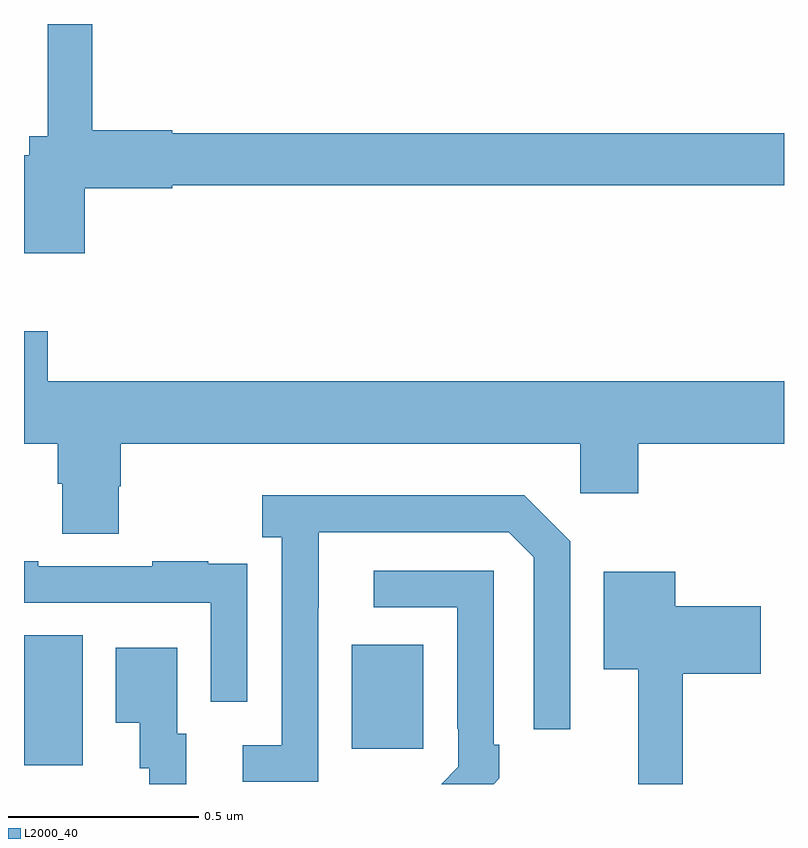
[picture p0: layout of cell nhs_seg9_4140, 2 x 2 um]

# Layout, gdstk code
import gdstk
lib = gdstk.Library(unit=1e-6, precision=1e-09)
def R(c, l, rs):  # rectangles x0, y0, x1, y1
    for r in rs: c.add(gdstk.rectangle(r[:2], r[2:], *l))
def P(c, l, *ps):  # polygons
    for p in ps: c.add(gdstk.Polygon(p, *l))
L2000_40 = (2000, 40)

nhs_seg9_4140 = lib.new_cell('nhs_seg9_4140')
R(nhs_seg9_4140, L2000_40, [(162,1219.549,162.154,1219.892), (162.863,1219.593,163.051,1219.867)])
P(nhs_seg9_4140, L2000_40, [(162.16,1221.068),(162.39,1221.068),(162.39,1221.076),(164,1221.076),(164,1221.212),(162.39,1221.212),(162.39,1221.22),(162.179,1221.22),(162.179,1221.5),(162.062,1221.5),(162.062,1221.205),(162.014,1221.205),(162.014,1221.154),(162,1221.154),(162,1220.897),(162.16,1220.897)],
  [(162.249,1220.283),(162.254,1220.283),(162.254,1220.396),(163.464,1220.396),(163.464,1220.265),(163.616,1220.265),(163.616,1220.396),(164,1220.396),(164,1220.56),(162.062,1220.56),(162.062,1220.692),(162,1220.692),(162,1220.396),(162.089,1220.396),(162.089,1220.29),(162.101,1220.29),(162.101,1220.158),(162.249,1220.158)],
  [(162.774,1219.963),(162.775,1219.963),(162.775,1220.163),(163.275,1220.163),(163.341,1220.097),(163.341,1219.644),(163.437,1219.644),(163.437,1220.139),(163.316,1220.26),(162.627,1220.26),(162.627,1220.15),(162.678,1220.15),(162.678,1219.602),(162.576,1219.602),(162.576,1219.506),(162.774,1219.506)],
  [(162.588,1219.97),(162.587,1219.97),(162.587,1220.079),(162.485,1220.079),(162.485,1220.086),(162.337,1220.086),(162.337,1220.073),(162.037,1220.073),(162.037,1220.086),(162,1220.086),(162,1219.977),(162.492,1219.977),(162.492,1219.716),(162.588,1219.716)],
  [(163.251,1219.515),(163.251,1219.603),(163.236,1219.603),(163.236,1220.061),(162.921,1220.061),(162.921,1219.965),(163.14,1219.965),(163.14,1219.645),(163.143,1219.645),(163.143,1219.545),(163.098,1219.5),(163.236,1219.5)],
  [(163.733,1219.79),(163.939,1219.79),(163.939,1219.968),(163.714,1219.968),(163.714,1220.059),(163.526,1220.059),(163.526,1219.802),(163.616,1219.802),(163.616,1219.5),(163.733,1219.5)],
  [(162.427,1219.632),(162.403,1219.632),(162.403,1219.858),(162.242,1219.858),(162.242,1219.661),(162.305,1219.661),(162.305,1219.542),(162.33,1219.542),(162.33,1219.5),(162.427,1219.5)])

lib.write_gds('nhs_seg9_4140.gds')
